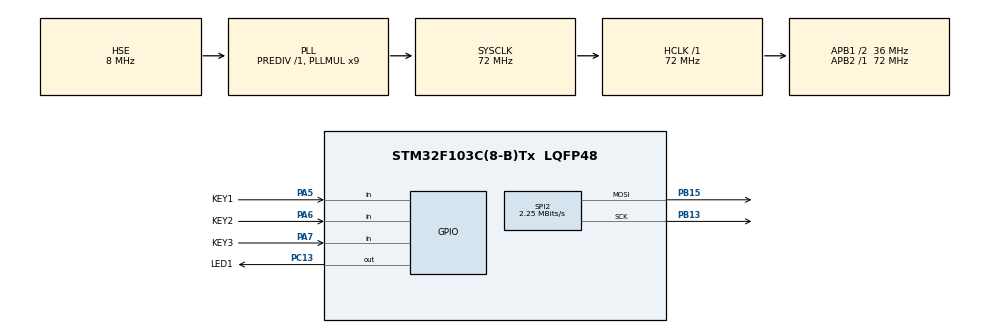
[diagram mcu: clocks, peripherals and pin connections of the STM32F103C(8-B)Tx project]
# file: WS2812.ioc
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FREERTOS.Queues01=KeyQueue,8,Key_Statu_Typedef,0,Dynamic,NULL,NULL
FREERTOS.Tasks01=defaultTask,-2,64,StartDefaultTask,Default,NULL,Dynamic,NULL,NULL;KeyTask,3,128,StartKeyTask,Default,NULL,Dynamic,NULL,NULL;WS2812Task,1,256,StartWS2812Task,Default,NULL,Dynamic,NULL,NULL;DesklampTsk,0,128,StartDesklampTask,Default,NULL,Dynamic,NULL,NULL;rainbowTask,0,128,StartrainbowTask,Default,NULL,Dynamic,NULL,NULL;TheaterTask,0,128,StartTheaterTask,Default,NULL,Dynamic,NULL,NULL
FREERTOS.configENABLE_BACKWARD_COMPATIBILITY=0
FREERTOS.configIDLE_SHOULD_YIELD=0
FREERTOS.configMAX_TASK_NAME_LEN=12
FREERTOS.configMINIMAL_STACK_SIZE=64
FREERTOS.configQUEUE_REGISTRY_SIZE=0
FREERTOS.configTOTAL_HEAP_SIZE=10240
FREERTOS.configUSE_MUTEXES=0
FREERTOS.configUSE_TASK_NOTIFICATIONS=0
Mcu.Family=STM32F1
Mcu.Name=STM32F103C(8-B)Tx
Mcu.Package=LQFP48
NVIC.PriorityGroup=NVIC_PRIORITYGROUP_4
NVIC.TIM3_IRQn=true\:0\:0\:false\:false\:true\:false\:false\:true
NVIC.TimeBase=TIM3_IRQn
NVIC.TimeBaseIP=TIM3
PA13.Mode=Serial_Wire
PA13.Signal=SYS_JTMS-SWDIO
PA14.Mode=Serial_Wire
PA14.Signal=SYS_JTCK-SWCLK
PA5.GPIO_Label=KEY1
PA5.GPIO_PuPd=GPIO_PULLUP
PA5.Signal=GPIO_Input
PA6.GPIO_Label=KEY2
PA6.GPIO_PuPd=GPIO_PULLUP
PA6.Signal=GPIO_Input
PA7.GPIO_Label=KEY3
PA7.GPIO_PuPd=GPIO_PULLUP
PA7.Signal=GPIO_Input
PB13.Mode=TX_Only_Simplex_Unidirect_Master
PB13.Signal=SPI2_SCK
PB15.Mode=TX_Only_Simplex_Unidirect_Master
PB15.Signal=SPI2_MOSI
PC13-TAMPER-RTC.GPIO_Label=LED1
PC13-TAMPER-RTC.GPIO_Speed=GPIO_SPEED_FREQ_HIGH
PC13-TAMPER-RTC.Signal=GPIO_Output
PC14-OSC32_IN.Mode=LSE-External-Oscillator
PC14-OSC32_IN.Signal=RCC_OSC32_IN
PC15-OSC32_OUT.Mode=LSE-External-Oscillator
PC15-OSC32_OUT.Signal=RCC_OSC32_OUT
PD0-OSC_IN.Mode=HSE-External-Oscillator
PD0-OSC_IN.Signal=RCC_OSC_IN
PD1-OSC_OUT.Mode=HSE-External-Oscillator
PD1-OSC_OUT.Signal=RCC_OSC_OUT
ProjectManager.HeapSize=0x200
ProjectManager.StackSize=0x400
ProjectManager.TargetToolchain=MDK-ARM V5
RCC.AHBFreq_Value=72000000
RCC.APB1CLKDivider=RCC_HCLK_DIV2
RCC.APB1Freq_Value=36000000
RCC.APB1TimFreq_Value=72000000
RCC.APB2Freq_Value=72000000
RCC.APB2TimFreq_Value=72000000
RCC.EnbaleCSS=true
RCC.HCLKFreq_Value=72000000
RCC.PLLMUL=RCC_PLL_MUL9
RCC.PLLSourceVirtual=RCC_PLLSOURCE_HSE
RCC.SYSCLKFreq_VALUE=72000000
RCC.SYSCLKSource=RCC_SYSCLKSOURCE_PLLCLK
RCC.USBFreq_Value=72000000
SPI2.BaudRatePrescaler=SPI_BAUDRATEPRESCALER_16
SPI2.CLKPhase=SPI_PHASE_2EDGE
SPI2.CalculateBaudRate=2.25 MBits/s
SPI2.Direction=SPI_DIRECTION_2LINES
SPI2.Mode=SPI_MODE_MASTER
SPI2.VirtualType=VM_MASTER
VP_FREERTOS_VS_CMSIS_V1.Mode=CMSIS_V1
VP_SYS_VS_tim3.Mode=TIM3
board=custom

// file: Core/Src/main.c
/* USER CODE BEGIN Header */
/**
  ******************************************************************************
  * @file           : main.c
  * @brief          : Main program body
  ******************************************************************************
  * This notice applies to any and all portions of this file
  * that are not between comment pairs USER CODE BEGIN and
  * USER CODE END. Other portions of this file, whether
  * inserted by the user or by software development tools
  * are owned by their respective copyright owners.
  *
  * Copyright (c) 2019 STMicroelectronics International N.V.
  * All rights reserved.
  *
  * Redistribution and use in source and binary forms, with or without
  * modification, are permitted, provided that the following conditions are met:
  *
  * 1. Redistribution of source code must retain the above copyright notice,
  *    this list of conditions and the following disclaimer.
  * 2. Redistributions in binary form must reproduce the above copyright notice,
  *    this list of conditions and the following disclaimer in the documentation
  *    and/or other materials provided with the distribution.
  * 3. Neither the name of STMicroelectronics nor the names of other
  *    contributors to this software may be used to endorse or promote products
  *    derived from this software without specific written permission.
  * 4. This software, including modifications and/or derivative works of this
  *    software, must execute solely and exclusively on microcontroller or
  *    microprocessor devices manufactured by or for STMicroelectronics.
  * 5. Redistribution and use of this software other than as permitted under
  *    this license is void and will automatically terminate your rights under
  *    this license.
  *
  * THIS SOFTWARE IS PROVIDED BY STMICROELECTRONICS AND CONTRIBUTORS "AS IS"
  * AND ANY EXPRESS, IMPLIED OR STATUTORY WARRANTIES, INCLUDING, BUT NOT
  * LIMITED TO, THE IMPLIED WARRANTIES OF MERCHANTABILITY, FITNESS FOR A
  * PARTICULAR PURPOSE AND NON-INFRINGEMENT OF THIRD PARTY INTELLECTUAL PROPERTY
  * RIGHTS ARE DISCLAIMED TO THE FULLEST EXTENT PERMITTED BY LAW. IN NO EVENT
  * SHALL STMICROELECTRONICS OR CONTRIBUTORS BE LIABLE FOR ANY DIRECT, INDIRECT,
  * INCIDENTAL, SPECIAL, EXEMPLARY, OR CONSEQUENTIAL DAMAGES (INCLUDING, BUT NOT
  * LIMITED TO, PROCUREMENT OF SUBSTITUTE GOODS OR SERVICES; LOSS OF USE, DATA,
  * OR PROFITS; OR BUSINESS INTERRUPTION) HOWEVER CAUSED AND ON ANY THEORY OF
  * LIABILITY, WHETHER IN CONTRACT, STRICT LIABILITY, OR TORT (INCLUDING
  * NEGLIGENCE OR OTHERWISE) ARISING IN ANY WAY OUT OF THE USE OF THIS SOFTWARE,
  * EVEN IF ADVISED OF THE POSSIBILITY OF SUCH DAMAGE.
  *
  ******************************************************************************
  */
/* USER CODE END Header */

#include "main.h"
#include "cmsis_os.h"
#include "spi.h"
#include "gpio.h"

void SystemClock_Config(void);
void MX_FREERTOS_Init(void);

int main(void)
{

  /* MCU Configuration--------------------------------------------------------*/

  /* Reset of all peripherals, Initializes the Flash interface and the Systick. */
  HAL_Init();

  /* Configure the system clock */
  SystemClock_Config();

  /* Initialize all configured peripherals */
  MX_GPIO_Init();
  MX_SPI2_Init();

  /* Call init function for freertos objects (in freertos.c) */
  MX_FREERTOS_Init();

  /* Start scheduler */
  osKernelStart();

  /* We should never get here as control is now taken by the scheduler */

  /* Infinite loop */
  while (1)
  {

  }
}

void SystemClock_Config(void)
{
  RCC_OscInitTypeDef RCC_OscInitStruct = {0};
  RCC_ClkInitTypeDef RCC_ClkInitStruct = {0};

  /** Initializes the CPU, AHB and APB busses clocks
  */
  RCC_OscInitStruct.OscillatorType = RCC_OSCILLATORTYPE_HSE;
  RCC_OscInitStruct.HSEState = RCC_HSE_ON;
  RCC_OscInitStruct.HSEPredivValue = RCC_HSE_PREDIV_DIV1;
  RCC_OscInitStruct.HSIState = RCC_HSI_ON;
  RCC_OscInitStruct.PLL.PLLState = RCC_PLL_ON;
  RCC_OscInitStruct.PLL.PLLSource = RCC_PLLSOURCE_HSE;
  RCC_OscInitStruct.PLL.PLLMUL = RCC_PLL_MUL9;
  if (HAL_RCC_OscConfig(&RCC_OscInitStruct) != HAL_OK)
  {
    Error_Handler();
  }
  /** Initializes the CPU, AHB and APB busses clocks
  */
  RCC_ClkInitStruct.ClockType = RCC_CLOCKTYPE_HCLK|RCC_CLOCKTYPE_SYSCLK
                              |RCC_CLOCKTYPE_PCLK1|RCC_CLOCKTYPE_PCLK2;
  RCC_ClkInitStruct.SYSCLKSource = RCC_SYSCLKSOURCE_PLLCLK;
  RCC_ClkInitStruct.AHBCLKDivider = RCC_SYSCLK_DIV1;
  RCC_ClkInitStruct.APB1CLKDivider = RCC_HCLK_DIV2;
  RCC_ClkInitStruct.APB2CLKDivider = RCC_HCLK_DIV1;

  if (HAL_RCC_ClockConfig(&RCC_ClkInitStruct, FLASH_LATENCY_2) != HAL_OK)
  {
    Error_Handler();
  }
  /** Enables the Clock Security System
  */
  HAL_RCC_EnableCSS();
}

void HAL_TIM_PeriodElapsedCallback(TIM_HandleTypeDef *htim)
{
  if (htim->Instance == TIM3) {
    HAL_IncTick();
  }
}

void Error_Handler(void)
{
}

/************************ (C) COPYRIGHT STMicroelectronics *****END OF FILE****/

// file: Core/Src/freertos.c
/* USER CODE BEGIN Header */
/**
  ******************************************************************************
  * File Name          : freertos.c
  * Description        : Code for freertos applications
  ******************************************************************************
  * This notice applies to any and all portions of this file
  * that are not between comment pairs USER CODE BEGIN and
  * USER CODE END. Other portions of this file, whether
  * inserted by the user or by software development tools
  * are owned by their respective copyright owners.
  *
  * Copyright (c) 2019 STMicroelectronics International N.V.
  * All rights reserved.
  *
  * Redistribution and use in source and binary forms, with or without
  * modification, are permitted, provided that the following conditions are met:
  *
  * 1. Redistribution of source code must retain the above copyright notice,
  *    this list of conditions and the following disclaimer.
  * 2. Redistributions in binary form must reproduce the above copyright notice,
  *    this list of conditions and the following disclaimer in the documentation
  *    and/or other materials provided with the distribution.
  * 3. Neither the name of STMicroelectronics nor the names of other
  *    contributors to this software may be used to endorse or promote products
  *    derived from this software without specific written permission.
  * 4. This software, including modifications and/or derivative works of this
  *    software, must execute solely and exclusively on microcontroller or
  *    microprocessor devices manufactured by or for STMicroelectronics.
  * 5. Redistribution and use of this software other than as permitted under
  *    this license is void and will automatically terminate your rights under
  *    this license.
  *
  * THIS SOFTWARE IS PROVIDED BY STMICROELECTRONICS AND CONTRIBUTORS "AS IS"
  * AND ANY EXPRESS, IMPLIED OR STATUTORY WARRANTIES, INCLUDING, BUT NOT
  * LIMITED TO, THE IMPLIED WARRANTIES OF MERCHANTABILITY, FITNESS FOR A
  * PARTICULAR PURPOSE AND NON-INFRINGEMENT OF THIRD PARTY INTELLECTUAL PROPERTY
  * RIGHTS ARE DISCLAIMED TO THE FULLEST EXTENT PERMITTED BY LAW. IN NO EVENT
  * SHALL STMICROELECTRONICS OR CONTRIBUTORS BE LIABLE FOR ANY DIRECT, INDIRECT,
  * INCIDENTAL, SPECIAL, EXEMPLARY, OR CONSEQUENTIAL DAMAGES (INCLUDING, BUT NOT
  * LIMITED TO, PROCUREMENT OF SUBSTITUTE GOODS OR SERVICES; LOSS OF USE, DATA,
  * OR PROFITS; OR BUSINESS INTERRUPTION) HOWEVER CAUSED AND ON ANY THEORY OF
  * LIABILITY, WHETHER IN CONTRACT, STRICT LIABILITY, OR TORT (INCLUDING
  * NEGLIGENCE OR OTHERWISE) ARISING IN ANY WAY OUT OF THE USE OF THIS SOFTWARE,
  * EVEN IF ADVISED OF THE POSSIBILITY OF SUCH DAMAGE.
  *
  ******************************************************************************
  */
/* USER CODE END Header */

#include "FreeRTOS.h"
#include "task.h"
#include "main.h"
#include "cmsis_os.h"

/* USER CODE BEGIN Includes */
#include "bsp_key.h"
#include "bsp_led.h"
#include "bsp_ws2812.h"
/* USER CODE END Includes */

osThreadId defaultTaskHandle;
osThreadId KeyTaskHandle;
osThreadId WS2812TaskHandle;
osThreadId DesklampTskHandle;
osThreadId rainbowTaskHandle;
osThreadId TheaterTaskHandle;
osMessageQId KeyQueueHandle;

void StartDefaultTask(void const * argument);
void StartKeyTask(void const * argument);
void StartWS2812Task(void const * argument);
void StartDesklampTask(void const * argument);
void StartrainbowTask(void const * argument);
void StartTheaterTask(void const * argument);

void MX_FREERTOS_Init(void); /* (MISRA C 2004 rule 8.1) */

void MX_FREERTOS_Init(void) {

  /* Create the queue(s) */
  /* definition and creation of KeyQueue */
  osMessageQDef(KeyQueue, 8, Key_Statu_Typedef);
  KeyQueueHandle = osMessageCreate(osMessageQ(KeyQueue), NULL);

  /* Create the thread(s) */
  /* definition and creation of defaultTask */
  osThreadDef(defaultTask, StartDefaultTask, osPriorityLow, 0, 64);
  defaultTaskHandle = osThreadCreate(osThread(defaultTask), NULL);

  /* definition and creation of KeyTask */
  osThreadDef(KeyTask, StartKeyTask, osPriorityRealtime, 0, 128);
  KeyTaskHandle = osThreadCreate(osThread(KeyTask), NULL);

  /* definition and creation of WS2812Task */
  osThreadDef(WS2812Task, StartWS2812Task, osPriorityAboveNormal, 0, 256);
  WS2812TaskHandle = osThreadCreate(osThread(WS2812Task), NULL);

  /* definition and creation of DesklampTsk */
  osThreadDef(DesklampTsk, StartDesklampTask, osPriorityNormal, 0, 128);
  DesklampTskHandle = osThreadCreate(osThread(DesklampTsk), NULL);

  /* definition and creation of rainbowTask */
  osThreadDef(rainbowTask, StartrainbowTask, osPriorityNormal, 0, 128);
  rainbowTaskHandle = osThreadCreate(osThread(rainbowTask), NULL);

  /* definition and creation of TheaterTask */
  osThreadDef(TheaterTask, StartTheaterTask, osPriorityNormal, 0, 128);
  TheaterTaskHandle = osThreadCreate(osThread(TheaterTask), NULL);

}

void StartDefaultTask(void const * argument)
{

  /* USER CODE BEGIN StartDefaultTask */
  /* Infinite loop */
  for(;;)
  {
			 LED1_ON;
			 osDelay(50);
			 LED1_OFF;
    osDelay(950);
  }
  /* USER CODE END StartDefaultTask */
}

void StartKeyTask(void const * argument)
{
  /* USER CODE BEGIN StartKeyTask */
	 Key_Statu_Typedef Key;

	 Key_init(&Key);
	 Scan_Key(&Key);
  /* Infinite loop */
  for(;;)
  {
			 Scan_Key(&Key);
			 osMessagePut(KeyQueueHandle,(uint32_t)(&Key),0);
    osDelay(50);
  }
  /* USER CODE END StartKeyTask */
}

void StartWS2812Task(void const * argument)
{
  /* USER CODE BEGIN StartWS2812Task */
	 osEvent Key_Event;

  /* Infinite loop */
  for(;;)
  {
			Key_Event=osMessageGet(KeyQueueHandle,10);

			if(  ( (Key_Statu_Typedef *)(Key_Event.value.p) )->Key1_Flag == Key_Pressed )
			{
				osThreadResume(DesklampTskHandle);
				osThreadSuspend(rainbowTaskHandle);
				osThreadSuspend(TheaterTaskHandle);
			}

	  if  ( ( (Key_Statu_Typedef *)(Key_Event.value.p) )->Key2_Flag == Key_Pressed )
   {
    	osThreadResume(rainbowTaskHandle);
				 osThreadSuspend(DesklampTskHandle);
			 	osThreadSuspend(TheaterTaskHandle);
			}

			if ( ( (Key_Statu_Typedef *)(Key_Event.value.p) )->Key3_Flag == Key_Pressed )
   {
     	osThreadResume(TheaterTaskHandle);
				  osThreadSuspend(DesklampTskHandle);
				  osThreadSuspend(rainbowTaskHandle);
			}

    osDelay(100);
  }
  /* USER CODE END StartWS2812Task */
}

void StartDesklampTask(void const * argument)
{
  /* USER CODE BEGIN StartDesklampTask */
	 WS2812_HandleTypeDef hws2812;

	 WS2812_Init(&hws2812,16);

	 osThreadSuspend(NULL);
  /* Infinite loop */
  for(;;)
  {

			 ws2812_colorWipe(&hws2812,WS_WHITE,100);  //ֻ�����WS2812 һ��

    osDelay(100);
  }
  /* USER CODE END StartDesklampTask */
}

void StartrainbowTask(void const * argument)
{
  /* USER CODE BEGIN StartrainbowTask */
		WS2812_HandleTypeDef hws2812;

	 WS2812_Init(&hws2812,16);

	 osThreadSuspend(NULL);
  /* Infinite loop */
  for(;;)
  {

			 ws2812_rainbow(&hws2812,100);     //��ѭ������WS2812
			 osDelay(10);

  }
  /* USER CODE END StartrainbowTask */
}

void StartTheaterTask(void const * argument)
{
  /* USER CODE BEGIN StartTheaterTask */
	 uint32_t color=0;
	 uint8_t i=0;
	 WS2812_HandleTypeDef hws2812;

	 WS2812_Init(&hws2812,16);

	 osThreadSuspend(NULL);
  /* Infinite loop */
  for(;;)
  {
			 color=Wheel(i);
			 ws2812_blink_all(&hws2812,color ,500);           //��ѭ������WS2812
			 i++;
    osDelay(10);
  }
  /* USER CODE END StartTheaterTask */
}

/************************ (C) COPYRIGHT STMicroelectronics *****END OF FILE****/
